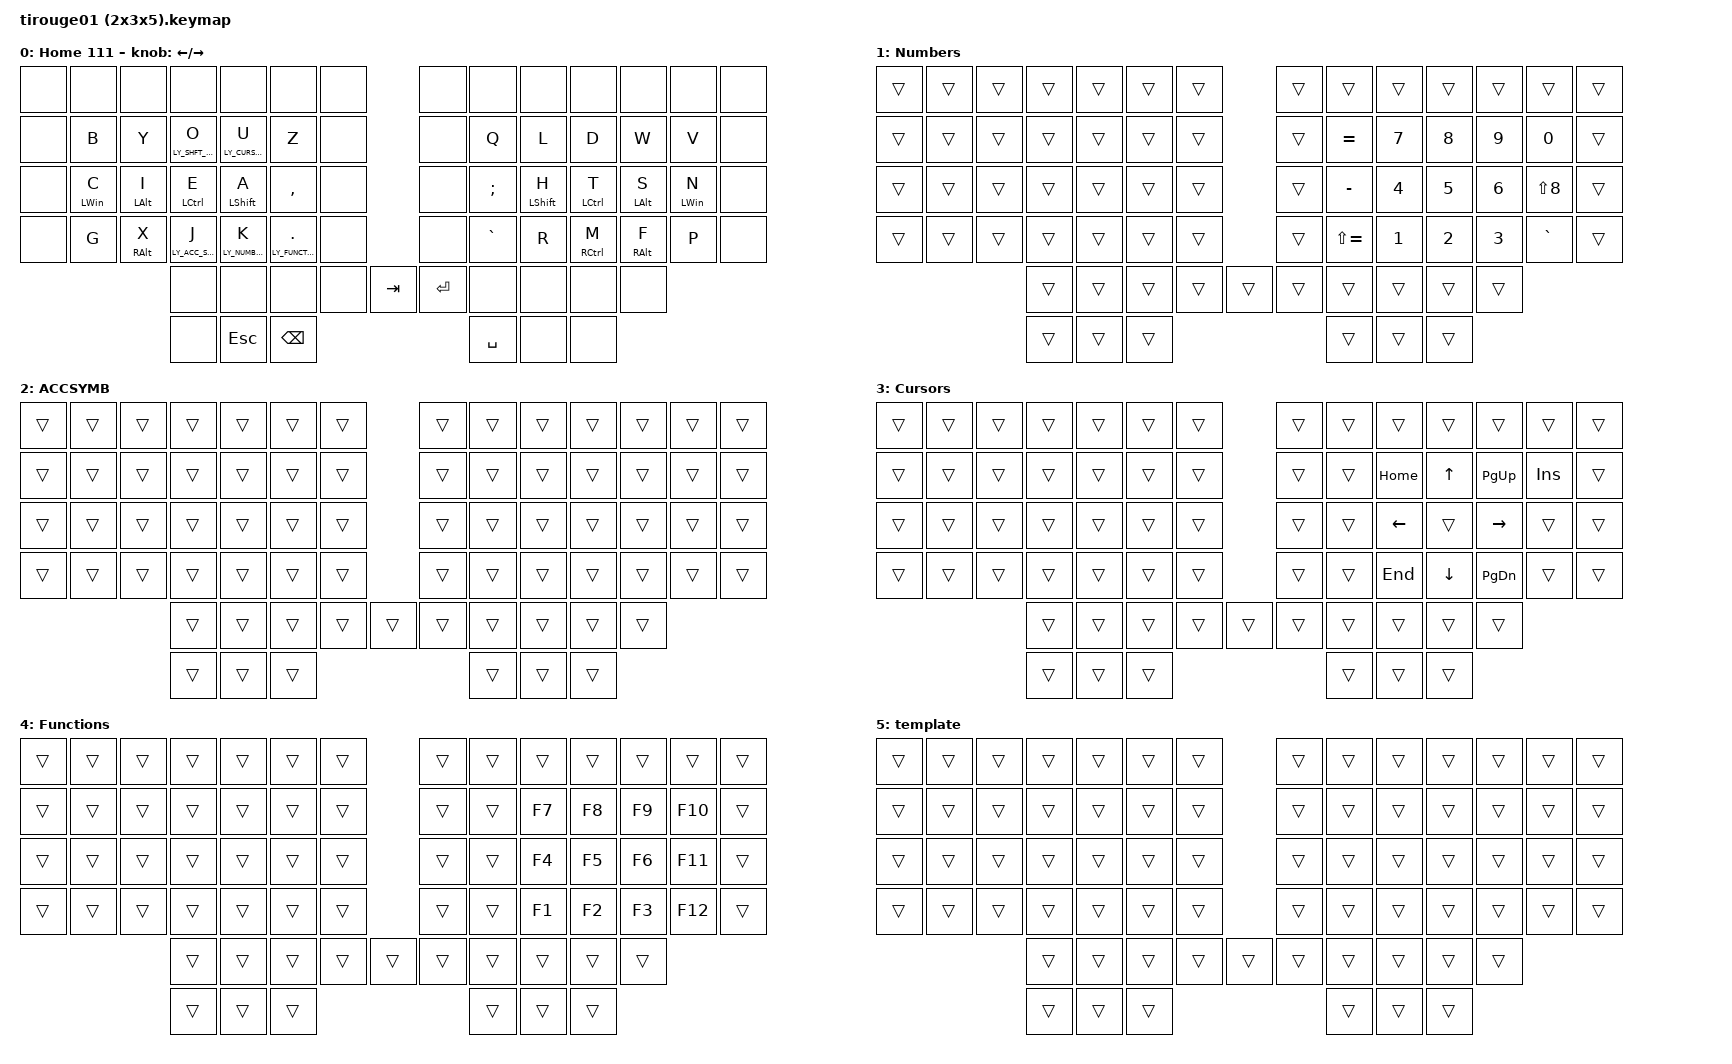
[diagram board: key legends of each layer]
/*
 * Copyright (c) 2022 The ZMK Contributors
 *
 * SPDX-License-Identifier: MIT
 */

#include <behaviors.dtsi>
#include <dt-bindings/zmk/keys.h>
#include <dt-bindings/zmk/bt.h>
#include <dt-bindings/zmk/outputs.h>

#define LY_DEFAULT   0
#define LY_ACC_SYMB  1
#define LY_SHFT_ACC  2
#define LY_NUMBERS   3
#define LY_CURSORS   4
#define LY_FUNCTIONS 5
#define LY_TEMPLATE  6

// https://zmk.dev/docs/keymaps/behaviors/sticky-layer
//
// ...
// By default, sticky layers stay pressed for a second if you don't press any other key.
// You can configure this with the release-after-ms setting (see below).
// ...
&sl {
    release-after-ms = <5000>;
    ignore-modifiers;
};


/ {
    behaviors {
        hrht: hrht {
            compatible = "zmk,behavior-hold-tap";
            #binding-cells = <2>;
            flavor = "balanced";
            require-prior-idle-ms = <150>;
            tapping-term-ms = <200>;
            quick-tap-ms = <175>;
            bindings = <&kp>, <&kp>;
        };

        lt: layer_tap {
            compatible = "zmk,behavior-hold-tap";
            #binding-cells = <2>;
            flavor = "balanced";
            require-prior-idle-ms = <150>;
            tapping-term-ms = <200>;
            quick-tap-ms = <175>;
            bindings = <&mo>, <&kp>;
        };

        gltog: generic_layer_toggle {
            compatible = "zmk,behavior-hold-tap";
            #binding-cells = <2>;
            flavor = "balanced";
            require-prior-idle-ms = <150>;
            tapping-term-ms = <200>;
            quick-tap-ms = <175>;
            bindings = <&tog>, <&kp>;
        };

        glstk: generic_layer_stick {
            compatible = "zmk,behavior-hold-tap";
            #binding-cells = <2>;
            flavor = "balanced";
            require-prior-idle-ms = <150>;
            tapping-term-ms = <200>;
            quick-tap-ms = <175>;
            bindings = <&sl>, <&kp>;
        };

        // If you wish to ensure that a layer is toggled on or off specifically,
        // rather than switching between the two states,
        // then you can do so with the toggle-mode property.
        // Define a new behavior and assign "on" or "off" to toggle-mode.
        // https://zmk.dev/docs/keymaps/behaviors/layers#configuration
        gltog_on: toggle_layer_on_only {
            compatible = "zmk,behavior-toggle-layer";
            #binding-cells = <1>;
            display-name = "Toggle Layer On";
            toggle-mode = "on";
        };

        gltog_off: toggle_layer_off_only {
            compatible = "zmk,behavior-toggle-layer";
            #binding-cells = <1>;
            display-name = "Toggle Layer Off";
            toggle-mode = "off";
        };

        // A tap-dance key invokes a different behavior (e.g. kp) corresponding to how many times it is pressed.
        // https://zmk.dev/docs/keymaps/behaviors/tap-dance
        td_menus: tap_dance_popup_main_menus {
            compatible = "zmk,behavior-tap-dance";
            #binding-cells = <0>;
            tapping-term-ms = <200>;
            bindings = <&mac_contextcursor>, <&mac_mainmenucursor>;
        };
    };

    macros {
        // Macro to open the context menu, scroll to the first item and switch to the cursor layer.
        mac_contextcursor: mac_contextcursor {
            compatible = "zmk,behavior-macro";
            #binding-cells = <0>;
            wait-ms = <10>;
            bindings = <&kp K_CONTEXT_MENU &kp DOWN &gltog_on LY_CURSORS>;
        };

        // Macro to open the main menu, scroll to the first item and switch to the cursor layer.
        mac_mainmenucursor: mac_mainmenucursor {
            compatible = "zmk,behavior-macro";
            #binding-cells = <0>;
            wait-ms = <10>;
            bindings = <&kp LALT &kp DOWN &gltog_on LY_CURSORS>;
        };

        // Macro to exit the cursor layer and press enter to launch the selected item.
        mac_enterexitpopup: mac_enterexitpopup {
            compatible = "zmk,behavior-macro";
            #binding-cells = <0>;
            wait-ms = <10>;
            bindings = <&gltog_off LY_CURSORS &kp KP_ENTER>;
        };
    };

    keymap {
        compatible = "zmk,keymap";

// | SW6  | SW7  | SW1  | SW2  | SW3  | SW4  | SW5  |                    | SW5  | SW4  | SW3  | SW2  | SW1  | SW7  | SW6  |
// | SW13 | SW14 | SW8  | SW9  | SW10 | SW11 | SW12 |                    | SW12 | SW11 | SW10 | SW9  | SW8  | SW14 | SW13 |
// | SW20 | SW21 | SW15 | SW16 | SW17 | SW18 | SW19 |                    | SW19 | SW18 | SW17 | SW16 | SW15 | SW21 | SW20 |
// | SW28 | SW29 | SW23 | SW24 | SW25 | SW26 | SW27 |                    | SW27 | SW26 | SW25 | SW24 | SW23 | SW29 | SW28 |
//                      | SW31 | SW32 | SW33 | SW34 | SW38 |      | SW38 | SW34 | SW33 | SW32 | SW31 |
//                      | SW35 | SW36 | SW37 |                                  | SW37 | SW36 | SW35 |
//
// ********************
// * H - HOLD ACTIONS *
// ********************
//                 ╔═══════╗                                                          ╔═══════╗
//         ╔═══════╣ ACCSH ╠═══════╦═══════╗                          ╔═══════╦═══════╣ ACCSH ╠═══════╗
// ╔═══════╣       ╠═══════╣CURSORS║       ║                          ║       ║       ╠═══════╣       ╠═══════╗
// ║       ╠═══════╣ LCTRL ╠═══════╬═══════╣                          ╠═══════╬═══════╣ LCTRL ╠═══════║       ║
// ╠═══════╣ LALT  ╠═══════╣ SHIFT ║       ║                          ║       ║ SHIFT ╠═══════╣ LALT  ╠═══════╣
// ║ LWIN  ╠═══════╣ ACCSY ╠═══════╬═══════╣                          ╠═══════╬═══════╣ ACCSY ╠═══════║ LWIN  ║
// ╠═══════╣ RALT  ╠═══════╣ NUMBR ║ FUNCT ║                          ║ FUNCT ║ NUMBR ╠═══════╣ RALT  ╠═══════╣
// ║       ╠═══════╝       ╚═══════╩═══════╝                          ╚═══════╩═══════╝       ╚═══════║       ║
// ╚═══════╝                                                                                          ╚═══════╝
//                       ╔═══════╗                                              ╔═══════╗
//                       ║       ║ ╔═══════╗                          ╔═══════╗ ║       ║
//                       ╚═══════╝ ║       ║                          ║       ║ ╚═══════╝
//                                 ╚═══════╝ ╔═══════╗      ╔═══════╗ ╚═══════╝
//                                           ║       ║      ║       ║
//                                           ╚═══════╝      ╚═══════╝
//
// ************
// * 0 - BASE *
// ************
//                 ╔═══════╗                                                          ╔═══════╗
//         ╔═══════╣   o   ╠═══════╦═══════╗                          ╔═══════╦═══════╣   d   ╠═══════╗
// ╔═══════╣   y   ╠═══════╣   u   ║   z   ║                          ║   q   ║   l   ╠═══════╣   w   ╠═══════╗
// ║   b   ╠═══════╣   e   ╠═══════╬═══════╣                          ╠═══════╬═══════╣   t   ╠═══════║   v   ║
// ╠═══════╣   i   ╠═══════╣   a   ║   ,   ║                          ║   ;   ║   h   ╠═══════╣   s   ╠═══════╣
// ║   c   ╠═══════╣   j   ╠═══════╬═══════╣                          ╠═══════╬═══════╣   m   ╠═══════║   n   ║
// ╠═══════╣   x   ╠═══════╣   k   ║   .   ║                          ║   /   ║   r   ╠═══════╣   f   ╠═══════╣
// ║   g   ╠═══════╝       ╚═══════╩═══════╝                          ╚═══════╩═══════╝       ╚═══════║   p   ║
// ╚═══════╝                                                                                          ╚═══════╝
//                       ╔═══════╗                                              ╔═══════╗
//                       ║  ESC  ║ ╔═══════╗                          ╔═══════╗ ║       ║
//                       ╚═══════╝ ║ BACK  ║                          ║ SPACE ║ ╚═══════╝
//                                 ╚═══════╝ ╔═══════╗      ╔═══════╗ ╚═══════╝
//                                           ║  TAB  ║      ║ ENTER ║
//                                           ╚═══════╝      ╚═══════╝
        layer_0 { // Home
            display-name = "Home 111";
            bindings = <
&none  &none         &none         &none              &none               &none                       &none                         &none  &none      &none          &none          &none         &none         &none
&none  &kp B         &kp Y         &lt LY_SHFT_ACC O  &hrht LY_CURSORS U  &kp Z                       &none                         &none  &kp Q      &kp L          &kp D          &kp W         &kp V         &none
&none  &hrht LWIN C  &hrht LALT I  &hrht LCTRL E      &hrht LSHFT A       &kp COMMA                   &none                         &none  &kp SEMI   &hrht LSHFT H  &hrht LCTRL T  &hrht LALT S  &hrht LWIN N  &none
&none  &kp G         &hrht RALT X  &lt LY_ACC_SYMB J  &lt LY_NUMBERS K    &glstk LY_FUNCTIONS PERIOD  &none                         &none  &kp GRAVE  &kp R          &hrht RCTRL M  &hrht RALT F  &kp P         &none
                                   &none              &none               &none                       &none  &kp TAB     &kp ENTER  &none  &none      &none          &none
                                   &none              &kp ESC             &kp BSPC                                                         &kp SPACE  &none          &none
            >;

            sensor-bindings = <&inc_dec_kp LEFT_ARROW RIGHT_ARROW>;
        };


// **************************************
// * 1 : LY_ACC_SYMB - ACCENT & SYMBOLS *
// **************************************
//                 ╔═══════╗                                                          ╔═══════╗
//         ╔═══════╣   ê   ╠═══════╦═══════╗                          ╔═══════╦═══════╣   *   ╠═══════╗
// ╔═══════╣   ô   ╠═══════╣   â   ║       ║                          ║       ║   &   ╠═══════╣   (   ╠═══════╗
// ║   ï   ╠═══════╣   é   ╠═══════╬═══════╣                          ╠═══════╬═══════╣   %   ╠═══════║   )   ║
// ╠═══════╣   î   ╠═══════╣   à   ║       ║                          ║       ║   $   ╠═══════╣   ?   ╠═══════╣
// ║   ç   ╠═══════╣   è   ╠═══════╬═══════╣                          ╠═══════╬═══════╣   @   ╠═══════║       ║
// ╠═══════╣       ╠═══════╣   ù   ║       ║                          ║       ║   !   ╠═══════╣   #   ╠═══════╣
// ║   ë   ╠═══════╝       ╚═══════╩═══════╝                          ╚═══════╩═══════╝       ╚═══════║       ║
// ╚═══════╝                                                                                          ╚═══════╝
//                       ╔═══════╗                                              ╔═══════╗
//                       ║       ║ ╔═══════╗                          ╔═══════╗ ║       ║
//                       ╚═══════╝ ║       ║                          ║       ║ ╚═══════╝
//                                 ╚═══════╝ ╔═══════╗      ╔═══════╗ ╚═══════╝
//                                           ║       ║      ║       ║
//                                           ╚═══════╝      ╚═══════╝
//
        layer_1 {
            display-name = "AccSymb";
            bindings = <
&trans &trans &trans &trans &trans &trans &trans                   &trans &trans &trans     &trans     &trans     &trans        &trans
&trans &trans &trans &trans &trans &trans &trans                   &trans &trans &kp LS(N7) &kp LS(N8) &kp LS(N9) &kp LS(N0)    &trans
&trans &trans &trans &trans &trans &trans &trans                   &trans &trans &kp LS(N4) &kp LS(N5) &kp LS(N6) &kp LS(MINUS) &trans
&trans &trans &trans &trans &trans &trans &trans                   &trans &trans &kp LS(N1) &kp LS(N2) &kp LS(N3) &kp LS(EQUAL) &trans
                     &trans &trans &trans &trans &trans     &trans &trans &trans &trans     &trans
                     &trans &trans &trans                                 &trans &trans     &trans
            >;
        };

// **********************************************
// * 2 : LY_SHFT_ACC - ACCENT & SYMBOLS SHIFTED *
// **********************************************
//                 ╔═══════╗                                                          ╔═══════╗
//         ╔═══════╣   Ê   ╠═══════╦═══════╗                          ╔═══════╦═══════╣       ╠═══════╗
// ╔═══════╣   Ô   ╠═══════╣   Â   ║       ║                          ║       ║       ╠═══════╣       ╠═══════╗
// ║   Ï   ╠═══════╣   É   ╠═══════╬═══════╣                          ╠═══════╬═══════╣       ╠═══════║       ║
// ╠═══════╣   Î   ╠═══════╣   À   ║       ║                          ║       ║       ╠═══════╣       ╠═══════╣
// ║   Ç   ╠═══════╣   È   ╠═══════╬═══════╣                          ╠═══════╬═══════╣       ╠═══════║       ║
// ╠═══════╣       ╠═══════╣   Ù   ║       ║                          ║       ║       ╠═══════╣       ╠═══════╣
// ║   Ë   ╠═══════╝       ╚═══════╩═══════╝                          ╚═══════╩═══════╝       ╚═══════║       ║
// ╚═══════╝                                                                                          ╚═══════╝
//                       ╔═══════╗                                              ╔═══════╗
//                       ║       ║ ╔═══════╗                          ╔═══════╗ ║       ║
//                       ╚═══════╝ ║       ║                          ║       ║ ╚═══════╝
//                                 ╚═══════╝ ╔═══════╗      ╔═══════╗ ╚═══════╝
//                                           ║       ║      ║       ║
//                                           ╚═══════╝      ╚═══════╝
//
        layer_2 {
            display-name = "ACCSYMB";
            bindings = <
&trans &trans &trans &trans &trans &trans &trans                   &trans &trans &trans &trans &trans &trans &trans
&trans &trans &trans &trans &trans &trans &trans                   &trans &trans &trans &trans &trans &trans &trans
&trans &trans &trans &trans &trans &trans &trans                   &trans &trans &trans &trans &trans &trans &trans
&trans &trans &trans &trans &trans &trans &trans                   &trans &trans &trans &trans &trans &trans &trans
                     &trans &trans &trans &trans &trans     &trans &trans &trans &trans &trans
                     &trans &trans &trans                                 &trans &trans &trans
            >;
        };

// ****************************
// * 3 : LY_NUMBERS - NUMBERS *
// ****************************
//                 ╔═══════╗                                                          ╔═══════╗
//         ╔═══════╣       ╠═══════╦═══════╗                          ╔═══════╦═══════╣   8   ╠═══════╗
// ╔═══════╣       ╠═══════╣       ║       ║                          ║   =   ║   7   ╠═══════╣   9   ╠═══════╗
// ║       ╠═══════╣       ╠═══════╬═══════╣                          ╠═══════╬═══════╣   5   ╠═══════║   0   ║
// ╠═══════╣       ╠═══════╣       ║       ║                          ║   -   ║   4   ╠═══════╣   6   ╠═══════╣
// ║       ╠═══════╣       ╠═══════╬═══════╣                          ╠═══════╬═══════╣   2   ╠═══════║   *   ║
// ╠═══════╣       ╠═══════╣       ║       ║                          ║   +   ║   1   ╠═══════╣   3   ╠═══════╣
// ║       ╠═══════╝       ╚═══════╩═══════╝                          ╚═══════╩═══════╝       ╚═══════║   /   ║
// ╚═══════╝                                                                                          ╚═══════╝
//                       ╔═══════╗                                              ╔═══════╗
//                       ║       ║ ╔═══════╗                          ╔═══════╗ ║       ║
//                       ╚═══════╝ ║       ║                          ║       ║ ╚═══════╝
//                                 ╚═══════╝ ╔═══════╗      ╔═══════╗ ╚═══════╝
//                                           ║       ║      ║       ║
//                                           ╚═══════╝      ╚═══════╝
//
        layer_1 {
            display-name = "Numbers";
            bindings = <
&trans &trans &trans &trans &trans &trans &trans                   &trans &trans         &trans &trans &trans &trans     &trans
&trans &trans &trans &trans &trans &trans &trans                   &trans &kp EQUAL      &kp N7 &kp N8 &kp N9 &kp N0     &trans
&trans &trans &trans &trans &trans &trans &trans                   &trans &kp MINUS      &kp N4 &kp N5 &kp N6 &kp LS(N8) &trans
&trans &trans &trans &trans &trans &trans &trans                   &trans &kp LS(EQUAL)  &kp N1 &kp N2 &kp N3 &kp GRAVE  &trans
                     &trans &trans &trans &trans &trans     &trans &trans &trans         &trans &trans
                     &trans &trans &trans                                 &trans         &trans &trans
            >;
        };

// ****************************
// * 4 : LY_CURSORS - CURSORS *
// ****************************
//                 ╔═══════╗                                                          ╔═══════╗
//         ╔═══════╣       ╠═══════╦═══════╗                          ╔═══════╦═══════╣  up   ╠═══════╗
// ╔═══════╣       ╠═══════╣       ║       ║                          ║       ║ home  ╠═══════╣ pagup ╠═══════╗
// ║       ╠═══════╣       ╠═══════╬═══════╣                          ╠═══════╬═══════╣       ╠═══════║  ins  ║
// ╠═══════╣       ╠═══════╣       ║       ║                          ║       ║ left  ╠═══════╣ right ╠═══════╣
// ║       ╠═══════╣       ╠═══════╬═══════╣                          ╠═══════╬═══════╣ down  ╠═══════║       ║
// ╠═══════╣       ╠═══════╣       ║       ║                          ║       ║  end  ╠═══════╣ pgdwn ╠═══════╣
// ║       ╠═══════╝       ╚═══════╩═══════╝                          ╚═══════╩═══════╝       ╚═══════║       ║
// ╚═══════╝                                                                                          ╚═══════╝
//                       ╔═══════╗                                              ╔═══════╗
//                       ║       ║ ╔═══════╗                          ╔═══════╗ ║       ║
//                       ╚═══════╝ ║       ║                          ║       ║ ╚═══════╝
//                                 ╚═══════╝ ╔═══════╗      ╔═══════╗ ╚═══════╝
//                                           ║       ║      ║       ║
//                                           ╚═══════╝      ╚═══════╝
//
        layer_4 {
            display-name = "Cursors";
            bindings = <
&trans  &trans  &trans  &trans  &trans  &trans  &trans                     &trans  &trans  &trans    &trans    &trans     &trans   &trans
&trans  &trans  &trans  &trans  &trans  &trans  &trans                     &trans  &trans  &kp HOME  &kp UP    &kp PG_UP  &kp INS  &trans
&trans  &trans  &trans  &trans  &trans  &trans  &trans                     &trans  &trans  &kp LEFT  &trans    &kp RIGHT  &trans   &trans
&trans  &trans  &trans  &trans  &trans  &trans  &trans                     &trans  &trans  &kp END   &kp DOWN  &kp PG_DN  &trans   &trans
                        &trans  &trans  &trans  &trans  &trans     &trans  &trans  &trans  &trans    &trans
                        &trans  &trans  &trans                                     &trans  &trans    &trans
            >;
        };

// ********************************
// * 5 : LY_FUNCTIONS - FUNCTIONS *
// ********************************
//                 ╔═══════╗                                                          ╔═══════╗
//         ╔═══════╣       ╠═══════╦═══════╗                          ╔═══════╦═══════╣  F8   ╠═══════╗
// ╔═══════╣       ╠═══════╣       ║       ║                          ║       ║  F7   ╠═══════╣  F9   ╠═══════╗
// ║       ╠═══════╣       ╠═══════╬═══════╣                          ╠═══════╬═══════╣  F5   ╠═══════║  F10  ║
// ╠═══════╣       ╠═══════╣       ║       ║                          ║       ║  F4   ╠═══════╣  F6   ╠═══════╣
// ║       ╠═══════╣       ╠═══════╬═══════╣                          ╠═══════╬═══════╣  F2   ╠═══════║  F11  ║
// ╠═══════╣       ╠═══════╣       ║       ║                          ║       ║  F1   ╠═══════╣  F3   ╠═══════╣
// ║       ╠═══════╝       ╚═══════╩═══════╝                          ╚═══════╩═══════╝       ╚═══════║  F12  ║
// ╚═══════╝                                                                                          ╚═══════╝
//                       ╔═══════╗                                              ╔═══════╗
//                       ║       ║ ╔═══════╗                          ╔═══════╗ ║       ║
//                       ╚═══════╝ ║       ║                          ║       ║ ╚═══════╝
//                                 ╚═══════╝ ╔═══════╗      ╔═══════╗ ╚═══════╝
//                                           ║       ║      ║       ║
//                                           ╚═══════╝      ╚═══════╝
//
        layer_5 {
            display-name = "Functions";
            bindings = <
&trans &trans &trans &trans &trans &trans &trans                   &trans &trans &trans &trans &trans &trans   &trans
&trans &trans &trans &trans &trans &trans &trans                   &trans &trans &kp F7 &kp F8 &kp F9 &kp F10  &trans
&trans &trans &trans &trans &trans &trans &trans                   &trans &trans &kp F4 &kp F5 &kp F6 &kp F11  &trans
&trans &trans &trans &trans &trans &trans &trans                   &trans &trans &kp F1 &kp F2 &kp F3 &kp F12  &trans
                     &trans &trans &trans &trans &trans     &trans &trans &trans &trans &trans
                     &trans &trans &trans                                 &trans &trans &trans
            >;
        };

// ******************************
// * 6 : LY_TEMPLATE - TEMPLATE *
// ******************************
//                 ╔═══════╗                                                          ╔═══════╗
//         ╔═══════╣       ╠═══════╦═══════╗                          ╔═══════╦═══════╣       ╠═══════╗
// ╔═══════╣       ╠═══════╣       ║       ║                          ║       ║       ╠═══════╣       ╠═══════╗
// ║       ╠═══════╣       ╠═══════╬═══════╣                          ╠═══════╬═══════╣       ╠═══════║       ║
// ╠═══════╣       ╠═══════╣       ║       ║                          ║       ║       ╠═══════╣       ╠═══════╣
// ║       ╠═══════╣       ╠═══════╬═══════╣                          ╠═══════╬═══════╣       ╠═══════║       ║
// ╠═══════╣       ╠═══════╣       ║       ║                          ║       ║       ╠═══════╣       ╠═══════╣
// ║       ╠═══════╝       ╚═══════╩═══════╝                          ╚═══════╩═══════╝       ╚═══════║       ║
// ╚═══════╝                                                                                          ╚═══════╝
//                       ╔═══════╗                                              ╔═══════╗
//                       ║       ║ ╔═══════╗                          ╔═══════╗ ║       ║
//                       ╚═══════╝ ║       ║                          ║       ║ ╚═══════╝
//                                 ╚═══════╝ ╔═══════╗      ╔═══════╗ ╚═══════╝
//                                           ║       ║      ║       ║
//                                           ╚═══════╝      ╚═══════╝
//
        layer_6 {
            display-name = "template";
            bindings = <
&trans &trans &trans &trans &trans &trans &trans                   &trans &trans &trans &trans &trans &trans &trans
&trans &trans &trans &trans &trans &trans &trans                   &trans &trans &trans &trans &trans &trans &trans
&trans &trans &trans &trans &trans &trans &trans                   &trans &trans &trans &trans &trans &trans &trans
&trans &trans &trans &trans &trans &trans &trans                   &trans &trans &trans &trans &trans &trans &trans
                     &trans &trans &trans &trans &trans     &trans &trans &trans &trans &trans
                     &trans &trans &trans                                 &trans &trans &trans
            >;
        };

    }; // keymap
};
